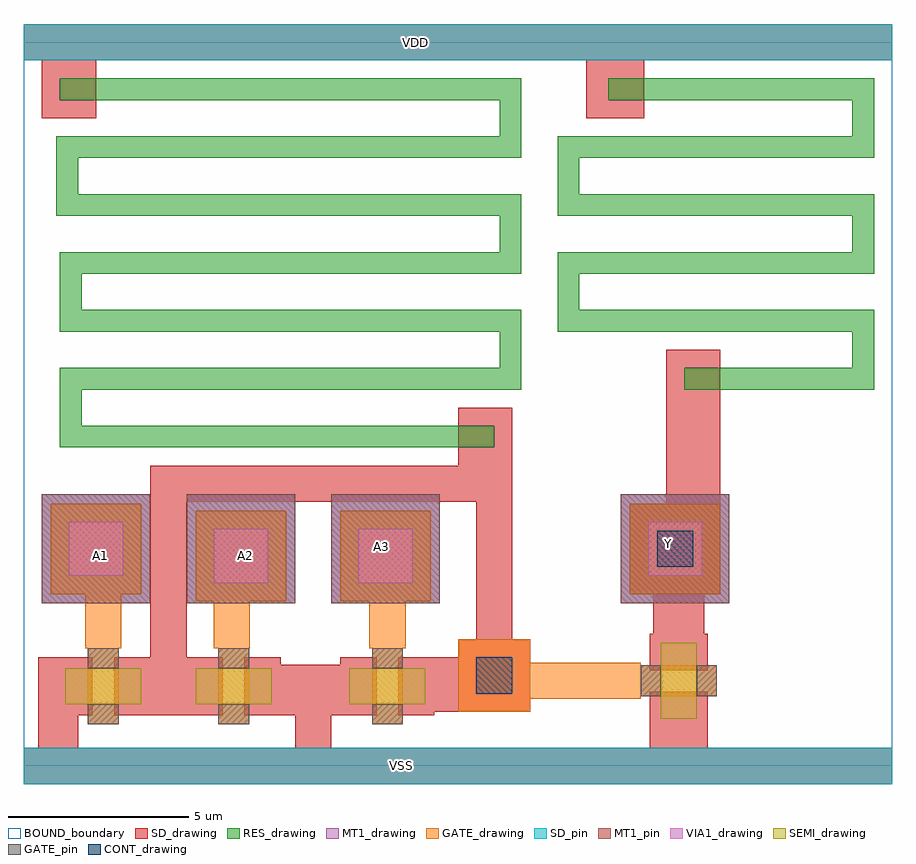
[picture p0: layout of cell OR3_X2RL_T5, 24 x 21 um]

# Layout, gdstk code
from math import pi, radians
import gdstk
lib = gdstk.Library(unit=1e-6, precision=1e-09)
def R(c, l, rs):  # rectangles x0, y0, x1, y1
    for r in rs: c.add(gdstk.rectangle(r[:2], r[2:], *l))
def A(c, l, x, y, w, h, nx, ny, dx, dy):  # array of equal rectangles
    R(c, l, [(x+i*dx, y+j*dy, x+i*dx+w, y+j*dy+h) for i in range(nx) for j in range(ny)])
def P(c, l, *ps):  # polygons
    for p in ps: c.add(gdstk.Polygon(p, *l))
RES_drawing = (1, 0)
SEMI_drawing = (3, 0)
SD_drawing = (10, 0)
SD_pin = (10, 3)
GATE_drawing = (11, 0)
GATE_pin = (11, 3)
MT1_drawing = (20, 0)
MT1_pin = (20, 3)
CONT_drawing = (30, 0)
VIA1_drawing = (41, 0)
BOUND_boundary = (150, 5)

nch_cdns_772545130460 = lib.new_cell('nch_CDNS_772545130460')
R(nch_cdns_772545130460, SEMI_drawing, [(-1.05,-0.5,1.05,0.5)])
R(nch_cdns_772545130460, SD_drawing, [(-1.3,-0.8,-0.3,0.8), (0.3,-0.8,1.3,0.8)])
R(nch_cdns_772545130460, GATE_drawing, [(-0.425,-1.05,0.425,1.05)])
R(nch_cdns_772545130460, GATE_pin, [(-0.425,-1.05,0.425,-0.5), (-0.425,0.5,0.425,1.05)])

sd_gate_cdns_77254513046 = lib.new_cell('SD_GATE_CDNS_772545130460')
R(sd_gate_cdns_77254513046, SD_drawing, [(-1,-1,1,1)])
R(sd_gate_cdns_77254513046, GATE_drawing, [(-1,-1,1,1)])
R(sd_gate_cdns_77254513046, CONT_drawing, [(-0.5,-0.5,0.5,0.5)])

c_sd_gate_cdns_77254513046 = lib.new_cell('SD_GATE_CDNS_772545130461')
R(c_sd_gate_cdns_77254513046, SD_drawing, [(-1.25,-1.25,1.25,1.25)])
R(c_sd_gate_cdns_77254513046, GATE_drawing, [(-1,-1,1,1)])
R(c_sd_gate_cdns_77254513046, CONT_drawing, [(-0.5,-0.5,0.5,0.5)])

gate_mt1_cdns_7725451304 = lib.new_cell('GATE_MT1_CDNS_772545130462')
R(gate_mt1_cdns_7725451304, GATE_drawing, [(-1.25,-1.25,1.25,1.25)])
R(gate_mt1_cdns_7725451304, MT1_drawing, [(-1.25,-1.25,1.25,1.25)])
R(gate_mt1_cdns_7725451304, VIA1_drawing, [(-0.75,-0.75,0.75,0.75)])

gate_mt1_stack_cdns_7725 = lib.new_cell('GATE_MT1_STACK_CDNS_772545130463')
R(gate_mt1_stack_cdns_7725, GATE_drawing, [(-1.25,-1.25,1.25,1.25)])
R(gate_mt1_stack_cdns_7725, MT1_drawing, [(-1.25,-1.25,1.25,1.25)])
R(gate_mt1_stack_cdns_7725, VIA1_drawing, [(-0.75,-0.75,0.75,0.75)])

or3_x2rl_t5 = lib.new_cell('OR3_X2RL_T5')
R(or3_x2rl_t5, SD_drawing, [(0,-0.5,24,0.5), (0.4,0.5,1.5,3), (7.5,0.5,8.5,2.8), (17.3,0.5,18.9,1.05), (12,8.3,13.5,9.9), (17.75,9.9,19.25,11.5), (0.5,17.9,2,19.5), (15.55,17.9,17.15,19.5), (0,19.5,24,20.5)])
R(or3_x2rl_t5, SD_pin, [(0,-0.5,24,0.5), (0,19.5,24,20.5)])
P(or3_x2rl_t5, GATE_drawing, [(2.7,3.35),(1.7,3.35),(1.7,3.25),(1.825,3.25),(1.825,3.2),(2.575,3.2),(2.575,3.25),(2.7,3.25)],
  [(6.25,3.35),(5.25,3.35),(5.25,3.25),(5.425,3.25),(5.425,3.2),(6.175,3.2),(6.175,3.25),(6.25,3.25)],
  [(10.55,3.35),(9.55,3.35),(9.55,3.25),(9.675,3.25),(9.675,3.2),(10.425,3.2),(10.425,3.25),(10.55,3.25)],
  [(16.95,2.85),(16.95,1.85),(17.05,1.85),(17.05,1.975),(17.1,1.975),(17.1,2.725),(17.05,2.725),(17.05,2.85)])
A(or3_x2rl_t5, MT1_drawing, 0.5, 4.5, 3, 3, 3, 1, 4, 0)
R(or3_x2rl_t5, MT1_drawing, [(16.5,4.5,19.5,7.5)])
A(or3_x2rl_t5, MT1_pin, 0.5, 4.5, 3, 3, 3, 1, 4, 0)
R(or3_x2rl_t5, MT1_pin, [(16.5,4.5,19.5,7.5)])
R(or3_x2rl_t5, BOUND_boundary, [(0,0,24,20)])
or3_x2rl_t5.add(gdstk.FlexPath([(18.5,9.9),(18.5,7.2)], 1.5, ends="flush", simple_path=True, layer=10, datatype=0))  # SD_drawing
or3_x2rl_t5.add(gdstk.FlexPath([(11.35,2.2),(12.5,2.2)], 1.4, ends="flush", simple_path=True, layer=10, datatype=0))  # SD_drawing
or3_x2rl_t5.add(gdstk.FlexPath([(4,1.4),(4,7.8)], 1, ends=(0, 0.5), simple_path=True, layer=10, datatype=0))  # SD_drawing
or3_x2rl_t5.add(gdstk.FlexPath([(4,7.8),(13,7.8)], 1, ends="extended", simple_path=True, layer=10, datatype=0))  # SD_drawing
or3_x2rl_t5.add(gdstk.FlexPath([(13,7.8),(13,1.5)], 1, ends=(0.5, 0), simple_path=True, layer=10, datatype=0))  # SD_drawing
or3_x2rl_t5.add(gdstk.FlexPath([(11.35,2.3),(12.5,2.3)], 1.4, ends="flush", simple_path=True, layer=10, datatype=0))  # SD_drawing
or3_x2rl_t5.add(gdstk.FlexPath([(18.1,3.65),(18.1,4.75)], 1.4, ends="flush", simple_path=True, layer=10, datatype=0))  # SD_drawing
or3_x2rl_t5.add(gdstk.FlexPath([(8.775,2.1),(7.075,2.1)], 1.4, ends="flush", simple_path=True, layer=10, datatype=0))  # SD_drawing
or3_x2rl_t5.add(gdstk.FlexPath([(2.2,3.35),(2.2,4.9)], 1, ends="flush", simple_path=True, layer=11, datatype=0))  # GATE_drawing
or3_x2rl_t5.add(gdstk.FlexPath([(16.95,2.35),(13.5,2.35)], 1, ends="flush", simple_path=True, layer=11, datatype=0))  # GATE_drawing
or3_x2rl_t5.add(gdstk.FlexPath([(10.05,3.35),(10.05,5.05)], 1, ends="flush", simple_path=True, layer=11, datatype=0))  # GATE_drawing
or3_x2rl_t5.add(gdstk.FlexPath([(5.75,3.35),(5.75,4.9)], 1, ends="flush", simple_path=True, layer=11, datatype=0))  # GATE_drawing
or3_x2rl_t5.add(gdstk.FlexPath([(17.15,18.7),(23.2,18.7),(23.2,17.1),(15.05,17.1),(15.05,15.5),(23.2,15.5),(23.2,13.9),(15.05,13.9),(15.05,12.3),(23.2,12.3),(23.2,10.7),(19.25,10.7)], 0.6, ends=(1, 1), simple_path=True, layer=1, datatype=0))  # RES_drawing
or3_x2rl_t5.add(gdstk.FlexPath([(2,18.7),(13.45,18.7),(13.45,17.1),(1.2,17.1),(1.2,15.5),(13.45,15.5),(13.45,13.9),(1.3,13.9),(1.3,12.3),(13.45,12.3),(13.45,10.7),(1.3,10.7),(1.3,9.1),(12,9.1)], 0.6, ends=(1, 1), simple_path=True, layer=1, datatype=0))  # RES_drawing
or3_x2rl_t5.add(gdstk.Reference(nch_cdns_772545130460, (18.1,2.35), rotation=pi/2))
or3_x2rl_t5.add(gdstk.Reference(nch_cdns_772545130460, (10.05,2.2), x_reflection=True))
or3_x2rl_t5.add(gdstk.Reference(nch_cdns_772545130460, (5.8,2.2)))
or3_x2rl_t5.add(gdstk.Reference(nch_cdns_772545130460, (2.2,2.2)))
or3_x2rl_t5.add(gdstk.Reference(sd_gate_cdns_77254513046, (13,2.5)))
or3_x2rl_t5.add(gdstk.Reference(c_sd_gate_cdns_77254513046, (18,6)))
or3_x2rl_t5.add(gdstk.Reference(gate_mt1_cdns_7725451304, (18,6)))
or3_x2rl_t5.add(gdstk.Reference(gate_mt1_stack_cdns_7725, (2,6)))
or3_x2rl_t5.add(gdstk.Reference(gate_mt1_stack_cdns_7725, (6,5.8)))
or3_x2rl_t5.add(gdstk.Reference(gate_mt1_stack_cdns_7725, (10,5.8)))
or3_x2rl_t5.add(gdstk.Label('A1', (2.125,5.825), layer=20, texttype=3))
or3_x2rl_t5.add(gdstk.Label('Y', (17.825,6.15), layer=20, texttype=3))
or3_x2rl_t5.add(gdstk.Label('A3', (9.875,6.05), layer=20, texttype=3))
or3_x2rl_t5.add(gdstk.Label('A2', (6.125,5.825), layer=20, texttype=3))
or3_x2rl_t5.add(gdstk.Label('VDD', (10.825,20), layer=10, texttype=3))
or3_x2rl_t5.add(gdstk.Label('VSS', (10.425,0), layer=10, texttype=3))

lib.write_gds('OR3_X2RL_T5.gds')
